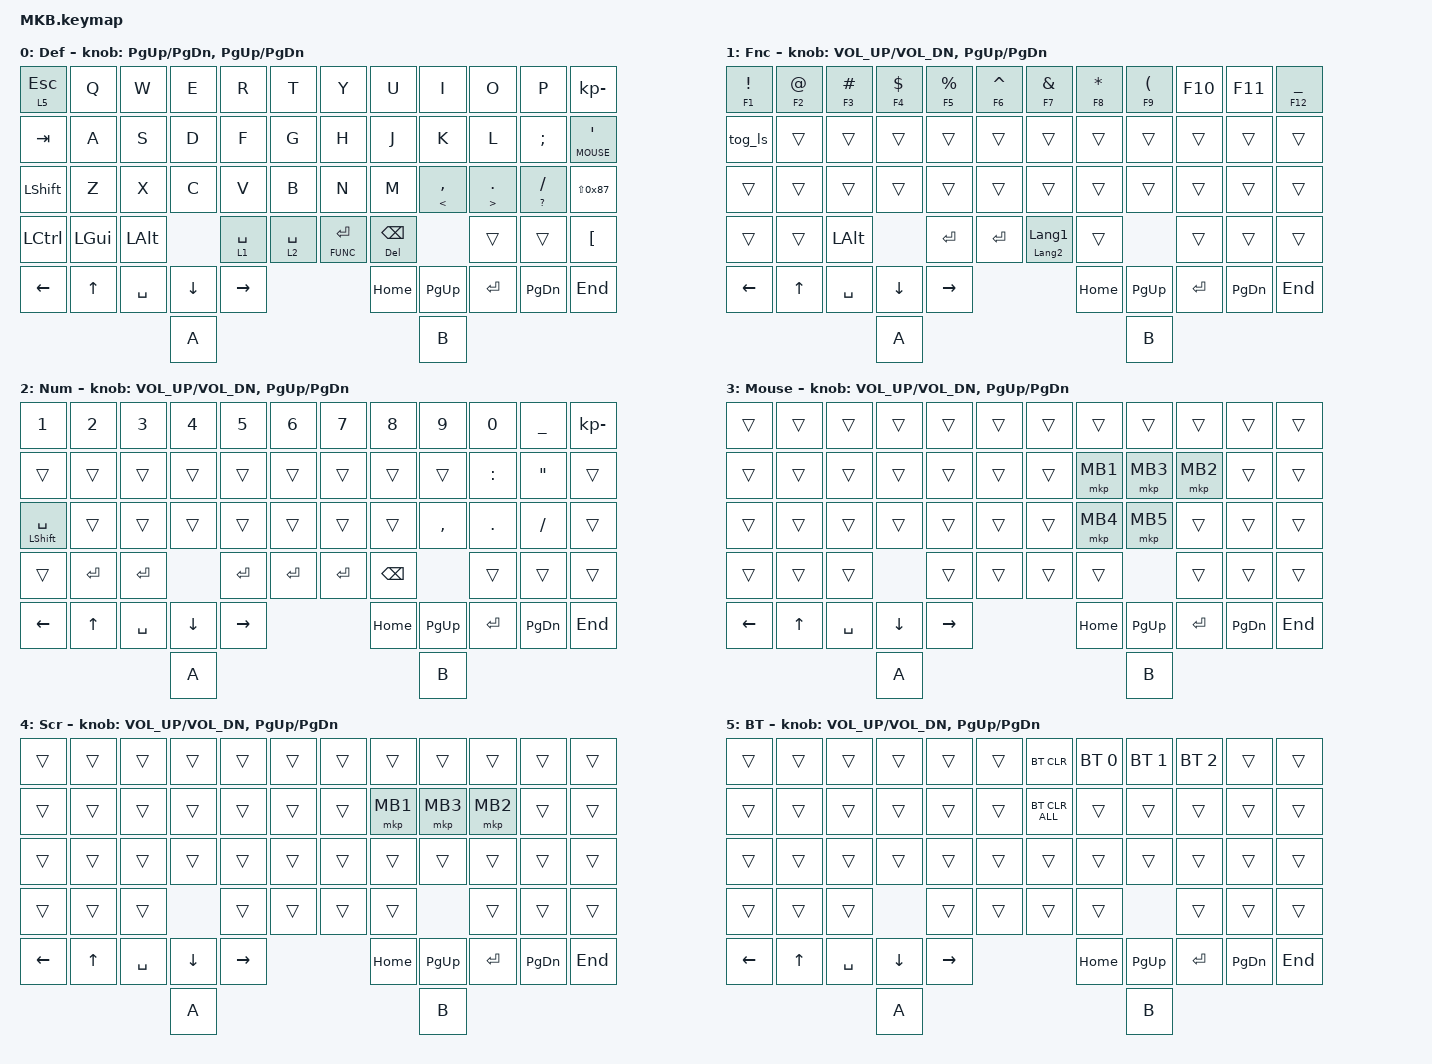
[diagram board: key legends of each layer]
// #include <layout_shift.dtsi>

#include <layout_shift_kp_override.dtsi>
#include <behaviors.dtsi>
#include <dt-bindings/zmk/bt.h>
#include <dt-bindings/zmk/keys.h>
#include <dt-bindings/zmk/pointing.h>

#define DEF 0
#define FUNC 1
#define NUM 2
#define MOUSE 3
#define SCROLL 4
#define BT 5

// OS設定を日本語キーボードのまま使用するための変換定義
#define JP_DQUOTE       AT                // "
#define JP_AMPERSAND    CARET             // &
#define JP_QUOTE        AMPERSAND         // '
#define JP_EQUAL        UNDER             // =
#define JP_CARET        EQUAL             // ^
#define JP_YEN          0x89              // ¥
#define JP_PLUS         COLON             // +
#define JP_TILDE        PLUS              // ~
#define JP_PIPE         LS(0x89)          // |
#define JP_AT           LEFT_BRACKET      // @
#define JP_COLON        SINGLE_QUOTE      // :
#define JP_ASTERISK     DOUBLE_QUOTES     // *
#define JP_BACKQUOTE    LEFT_BRACE        // `
#define JP_UNDERSCORE   LS(0x87)          // _
#define JP_LBRACKET     RIGHT_BRACKET     // [
#define JP_RBRACKET     BACKSLASH         // ]
#define JP_LPAREN       ASTERISK          // (
#define JP_RPAREN       LEFT_PARENTHESIS  // )
#define JP_LBRACE       RIGHT_BRACE       // {
#define JP_RBRACE       PIPE              // }
#define JP_KANA         LANGUAGE_1        // かな
#define JP_EISU         LANGUAGE_2        // 英数
#define JP_HANZEN       GRAVE             // 半角/全角

&mt {
    flavor = "balanced";
    tapping-term-ms = <280>;
    quick-tap-ms = <175>;
    require-prior-idle-ms = <150>;
};

/ {
    keymap {
        compatible = "zmk,keymap";

        default_layer {
            label = "Def";
            bindings = <
&lt 5 ESC       &kp Q     &kp W      &kp E     &kp R        &kp T            &kp Y           &kp U                 &kp I                &kp O                    &kp P               &kp KP_MINUS
&kp TAB         &kp A     &kp S      &kp D     &kp F        &kp G            &kp H           &kp J                 &kp K                &kp L                    &kp SEMI            &lt MOUSE JP_COLON
&kp LEFT_SHIFT  &kp Z     &kp X      &kp C     &kp V        &kp B            &kp N           &kp M                 &mt LESS_THAN COMMA  &mt GREATER_THAN PERIOD  &mt QUESTION SLASH  &kp JP_UNDERSCORE
&kp LCTRL       &kp LGUI  &kp LALT             &lt 1 SPACE  &lt 2 SPACE      &lt FUNC ENTER  &mt DELETE BACKSPACE                       &trans                   &trans              &kp JP_AT
&kp LEFT        &kp UP    &kp SPACE  &kp DOWN  &kp RIGHT                                     &kp HOME              &kp PG_UP            &kp ENTER                &kp PG_DN           &kp END
                                     &kp A                                                                         &kp B
            >;

            sensor-bindings =
                <&inc_dec_kp PAGE_UP PAGE_DOWN>,
                <&inc_dec_kp PG_UP PG_DN>;
        };

        function_layer {
            label = "Fnc";
            bindings = <
&mt F1 EXCLAMATION  &mt F2 JP_DQUOTE  &mt F3 HASH  &mt F4 DOLLAR  &mt F5 PERCENT  &mt F6 JP_AMPERSAND      &mt F7 JP_QUOTE  &mt F8 JP_LPAREN  &mt F9 JP_RPAREN  &kp F10    &kp F11    &mt F12 JP_EQUAL
&tog_ls             &trans        &trans       &trans         &trans          &trans                   &trans           &trans            &trans            &trans     &trans     &trans
&trans              &trans        &trans       &trans         &trans          &trans                   &trans           &trans            &trans            &trans     &trans     &trans
&trans              &trans        &kp LALT                    &kp ENTER       &kp ENTER                &mt JP_EISU JP_KANA      &trans                         &trans     &trans     &trans
&kp LEFT            &kp UP        &kp SPACE    &kp DOWN       &kp RIGHT                                                 &kp HOME          &kp PG_UP         &kp ENTER  &kp PG_DN  &kp END
                                               &kp A                                                                                      &kp B
            >;

            sensor-bindings = <&inc_dec_kp C_VOL_UP C_VOL_DN &inc_dec_kp PG_UP PG_DN>;
        };

        num_layer {
            label = "Num";
            bindings = <
&kp NUMBER_1     &kp NUMBER_2  &kp NUMBER_3  &kp NUMBER_4  &kp N5     &kp NUMBER_6      &kp N7     &kp N8         &kp N9     &kp N0       &kp JP_EQUAL     &kp KP_MINUS
&trans           &trans        &trans        &trans        &trans     &trans            &trans     &trans         &trans     &kp JP_PLUS  &kp JP_ASTERISK  &trans
&mt LSHFT SPACE  &trans        &trans        &trans        &trans     &trans            &trans     &trans         &kp COMMA  &kp PERIOD   &kp SLASH        &trans
&trans           &kp ENTER     &kp ENTER                   &kp ENTER  &kp ENTER         &kp ENTER  &kp BACKSPACE             &trans       &trans           &trans
&kp LEFT         &kp UP        &kp SPACE     &kp DOWN      &kp RIGHT                               &kp HOME       &kp PG_UP  &kp ENTER    &kp PG_DN        &kp END
                                             &kp A                                                                &kp B
            >;

            sensor-bindings = <&inc_dec_kp C_VOL_UP C_VOL_DN &inc_dec_kp PG_UP PG_DN>;
        };

        mouse_layer {
            label = "Mouse";
            bindings = <
&trans    &trans  &trans     &trans    &trans     &trans      &trans  &trans    &trans     &trans     &trans     &trans
&trans    &trans  &trans     &trans    &trans     &trans      &trans  &mkp MB1  &mkp MB3   &mkp MB2   &trans     &trans
&trans    &trans  &trans     &trans    &trans     &trans      &trans  &mkp MB4  &mkp MB5   &trans     &trans     &trans
&trans    &trans  &trans               &trans     &trans      &trans  &trans               &trans     &trans     &trans
&kp LEFT  &kp UP  &kp SPACE  &kp DOWN  &kp RIGHT                      &kp HOME  &kp PG_UP  &kp ENTER  &kp PG_DN  &kp END
                             &kp A                                              &kp B
            >;

            sensor-bindings = <&inc_dec_kp C_VOL_UP C_VOL_DN &inc_dec_kp PG_UP PG_DN>;
        };

        scroll_layer {
            label = "Scr";
            bindings = <
&trans    &trans  &trans     &trans    &trans     &trans      &trans  &trans    &trans     &trans     &trans     &trans
&trans    &trans  &trans     &trans    &trans     &trans      &trans  &mkp MB1  &mkp MB3   &mkp MB2   &trans     &trans
&trans    &trans  &trans     &trans    &trans     &trans      &trans  &trans    &trans     &trans     &trans     &trans
&trans    &trans  &trans               &trans     &trans      &trans  &trans               &trans     &trans     &trans
&kp LEFT  &kp UP  &kp SPACE  &kp DOWN  &kp RIGHT                      &kp HOME  &kp PG_UP  &kp ENTER  &kp PG_DN  &kp END
                             &kp A                                              &kp B
            >;

            sensor-bindings = <&inc_dec_kp C_VOL_UP C_VOL_DN &inc_dec_kp PG_UP PG_DN>;
        };

        bt_layer {
            label = "BT";
            bindings = <
&trans    &trans  &trans     &trans    &trans     &trans      &bt BT_CLR      &bt BT_SEL 0  &bt BT_SEL 1  &bt BT_SEL 2  &trans     &trans
&trans    &trans  &trans     &trans    &trans     &trans      &bt BT_CLR_ALL  &trans        &trans        &trans        &trans     &trans
&trans    &trans  &trans     &trans    &trans     &trans      &trans          &trans        &trans        &trans        &trans     &trans
&trans    &trans  &trans               &trans     &trans      &trans          &trans                      &trans        &trans     &trans
&kp LEFT  &kp UP  &kp SPACE  &kp DOWN  &kp RIGHT                              &kp HOME      &kp PG_UP     &kp ENTER     &kp PG_DN  &kp END
                             &kp A                                                          &kp B
            >;

            sensor-bindings = <&inc_dec_kp C_VOL_UP C_VOL_DN &inc_dec_kp PG_UP PG_DN>;
        };
    };
};
